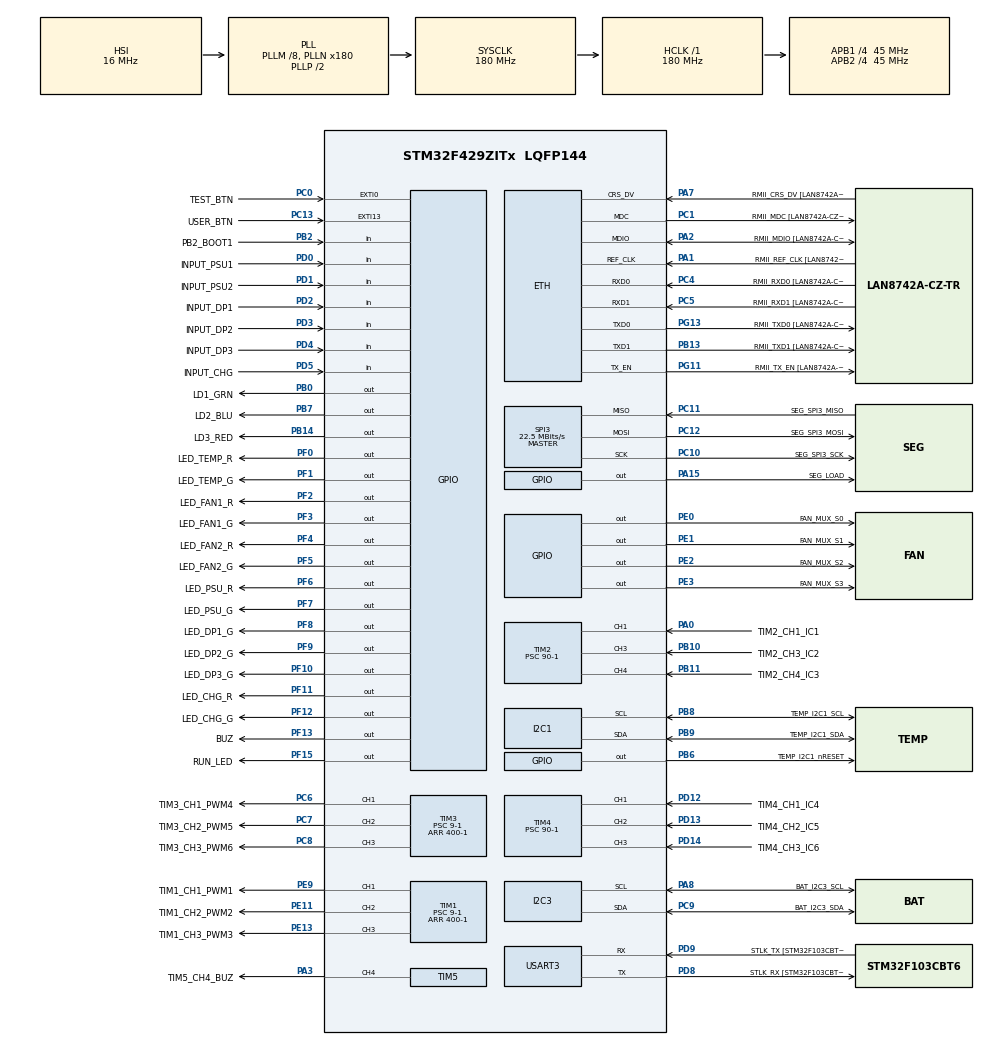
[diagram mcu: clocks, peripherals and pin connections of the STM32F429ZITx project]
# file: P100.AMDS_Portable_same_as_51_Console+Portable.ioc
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ETH.MediaInterface=HAL_ETH_RMII_MODE
LWIP.BSP.number=1
LWIP.GATEWAY_ADDRESS=192.168.050.001
LWIP.IP_ADDRESS=192.168.050.100
LWIP.LWIP_DHCP=0
LWIP.NETMASK_ADDRESS=255.255.255.000
LWIP.Version=v2.1.2_Cube
LWIP0.BSP.STBoard=false
LWIP0.BSP.api=BSP_COMPONENT_DRIVER
LWIP0.BSP.component=LAN8742
LWIP0.BSP.instance=LAN8742
LWIP0.BSP.name=Driver_PHY
LWIP0.BSP.semaphore=S_LAN8742
LWIP0.BSP.solution=LAN8742
Mcu.Family=STM32F4
Mcu.Name=STM32F429ZITx
Mcu.Package=LQFP144
NVIC.ETH_IRQn=true\:0\:0\:false\:false\:true\:true\:true\:true
NVIC.EXTI0_IRQn=true\:3\:0\:true\:false\:true\:true\:true\:true
NVIC.EXTI15_10_IRQn=true\:0\:0\:false\:false\:true\:true\:true\:true
NVIC.PriorityGroup=NVIC_PRIORITYGROUP_4
NVIC.TIM2_IRQn=true\:0\:0\:true\:false\:true\:true\:true\:true
NVIC.TIM4_IRQn=true\:0\:0\:true\:false\:true\:true\:true\:true
NVIC.TIM6_DAC_IRQn=true\:1\:0\:true\:false\:true\:true\:true\:true
NVIC.USART3_IRQn=true\:0\:0\:false\:false\:true\:true\:true\:true
PA0/WKUP.GPIO_Label=TIM2_CH1_IC1
PA0/WKUP.Signal=S_TIM2_CH1_ETR
PA1.GPIO_Label=RMII_REF_CLK [LAN8742A-CZ-TR_REFCLK0]
PA1.Mode=RMII
PA1.Signal=ETH_REF_CLK
PA13.Mode=Serial_Wire
PA13.Signal=SYS_JTMS-SWDIO
PA14.GPIO_Label=TCK
PA14.Mode=Serial_Wire
PA14.Signal=SYS_JTCK-SWCLK
PA15.GPIO_Label=SEG_LOAD
PA15.Signal=GPIO_Output
PA2.GPIO_Label=RMII_MDIO [LAN8742A-CZ-TR_MDIO]
PA2.Mode=RMII
PA2.Signal=ETH_MDIO
PA3.GPIO_Label=TIM5_CH4_BUZ
PA3.Signal=S_TIM5_CH4
PA7.GPIO_Label=RMII_CRS_DV [LAN8742A-CZ-TR_CRS_DV]
PA7.Mode=RMII
PA7.Signal=ETH_CRS_DV
PA8.GPIO_Label=BAT_I2C3_SCL
PA8.Mode=I2C
PA8.Signal=I2C3_SCL
PB0.GPIO_Label=LD1_GRN
PB0.Signal=GPIO_Output
PB10.GPIO_Label=TIM2_CH3_IC2
PB10.Signal=S_TIM2_CH3
PB11.GPIO_Label=TIM2_CH4_IC3
PB11.Signal=S_TIM2_CH4
PB13.GPIO_Label=RMII_TXD1 [LAN8742A-CZ-TR_TXD1]
PB13.Mode=RMII
PB13.Signal=ETH_TXD1
PB14.GPIO_Label=LD3_RED
PB14.Signal=GPIO_Output
PB2/BOOT1.GPIO_Label=PB2_BOOT1
PB2/BOOT1.Signal=GPIO_Input
PB4.GPIO_Label=SEG_SPI1_MISO
PB4.Signal=SPI1_MISO
PB6.GPIO_Label=TEMP_I2C1_nRESET
PB6.Signal=GPIO_Output
PB7.GPIO_Label=LD2_BLU
PB7.Signal=GPIO_Output
PB8.GPIO_Label=TEMP_I2C1_SCL
PB8.Mode=I2C
PB8.Signal=I2C1_SCL
PB9.GPIO_Label=TEMP_I2C1_SDA
PB9.Mode=I2C
PB9.Signal=I2C1_SDA
PC0.GPIO_Label=TEST_BTN
PC0.GPIO_ModeDefaultEXTI=GPIO_MODE_IT_FALLING
PC0.GPIO_PuPd=GPIO_NOPULL
PC0.Signal=GPXTI0
PC1.GPIO_Label=RMII_MDC [LAN8742A-CZ-TR_MDC]
PC1.Mode=RMII
PC1.Signal=ETH_MDC
PC10.GPIO_Label=SEG_SPI3_SCK
PC10.Mode=Full_Duplex_Master
PC10.Signal=SPI3_SCK
PC11.GPIO_Label=SEG_SPI3_MISO
PC11.Mode=Full_Duplex_Master
PC11.Signal=SPI3_MISO
PC12.GPIO_Label=SEG_SPI3_MOSI
PC12.Mode=Full_Duplex_Master
PC12.Signal=SPI3_MOSI
PC13.GPIO_Label=USER_BTN
PC13.GPIO_ModeDefaultEXTI=GPIO_MODE_IT_FALLING
PC13.GPIO_PuPd=GPIO_NOPULL
PC13.Signal=GPXTI13
PC14/OSC32_IN.Mode=LSE-External-Oscillator
PC14/OSC32_IN.Signal=RCC_OSC32_IN
PC15/OSC32_OUT.Mode=LSE-External-Oscillator
PC15/OSC32_OUT.Signal=RCC_OSC32_OUT
PC4.GPIO_Label=RMII_RXD0 [LAN8742A-CZ-TR_RXD0]
PC4.Mode=RMII
PC4.Signal=ETH_RXD0
PC5.GPIO_Label=RMII_RXD1 [LAN8742A-CZ-TR_RXD1]
PC5.Mode=RMII
PC5.Signal=ETH_RXD1
PC6.GPIO_Label=TIM3_CH1_PWM4
PC6.Signal=S_TIM3_CH1
PC7.GPIO_Label=TIM3_CH2_PWM5
PC7.Signal=S_TIM3_CH2
PC8.GPIO_Label=TIM3_CH3_PWM6
PC8.Signal=S_TIM3_CH3
PC9.GPIO_Label=BAT_I2C3_SDA
PC9.Mode=I2C
PC9.Signal=I2C3_SDA
PD0.GPIO_Label=INPUT_PSU1
PD0.GPIO_PuPd=GPIO_PULLUP
PD0.Signal=GPIO_Input
PD1.GPIO_Label=INPUT_PSU2
PD1.GPIO_PuPd=GPIO_PULLUP
PD1.Signal=GPIO_Input
PD12.GPIO_Label=TIM4_CH1_IC4
PD12.Signal=S_TIM4_CH1
PD13.GPIO_Label=TIM4_CH2_IC5
PD13.Signal=S_TIM4_CH2
PD14.GPIO_Label=TIM4_CH3_IC6
PD14.Signal=S_TIM4_CH3
PD2.GPIO_Label=INPUT_DP1
PD2.GPIO_PuPd=GPIO_PULLUP
PD2.Signal=GPIO_Input
PD3.GPIO_Label=INPUT_DP2
PD3.GPIO_PuPd=GPIO_PULLUP
PD3.Signal=GPIO_Input
PD4.GPIO_Label=INPUT_DP3
PD4.GPIO_PuPd=GPIO_PULLUP
PD4.Signal=GPIO_Input
PD5.GPIO_Label=INPUT_CHG
PD5.GPIO_PuPd=GPIO_PULLUP
PD5.Signal=GPIO_Input
PD8.GPIO_Label=STLK_RX [STM32F103CBT6_PA3]
PD8.Mode=Asynchronous
PD8.Signal=USART3_TX
PD9.GPIO_Label=STLK_TX [STM32F103CBT6_PA2]
PD9.Mode=Asynchronous
PD9.Signal=USART3_RX
PE0.GPIO_Label=FAN_MUX_S0
PE0.Signal=GPIO_Output
PE1.GPIO_Label=FAN_MUX_S1
PE1.Signal=GPIO_Output
PE11.GPIO_Label=TIM1_CH2_PWM2
PE11.Signal=S_TIM1_CH2
PE13.GPIO_Label=TIM1_CH3_PWM3
PE13.Signal=S_TIM1_CH3
PE2.GPIO_Label=FAN_MUX_S2
PE2.Signal=GPIO_Output
PE3.GPIO_Label=FAN_MUX_S3
PE3.Signal=GPIO_Output
PE9.GPIO_Label=TIM1_CH1_PWM1
PE9.Signal=S_TIM1_CH1
PF0.GPIO_Label=LED_TEMP_R
PF0.PinState=GPIO_PIN_SET
PF0.Signal=GPIO_Output
PF1.GPIO_Label=LED_TEMP_G
PF1.PinState=GPIO_PIN_SET
PF1.Signal=GPIO_Output
PF10.GPIO_Label=LED_DP3_G
PF10.PinState=GPIO_PIN_SET
PF10.Signal=GPIO_Output
PF11.GPIO_Label=LED_CHG_R
PF11.PinState=GPIO_PIN_SET
PF11.Signal=GPIO_Output
PF12.GPIO_Label=LED_CHG_G
PF12.PinState=GPIO_PIN_SET
PF12.Signal=GPIO_Output
PF13.GPIO_Label=BUZ
PF13.PinState=GPIO_PIN_SET
PF13.Signal=GPIO_Output
PF15.GPIO_Label=RUN_LED
PF15.Signal=GPIO_Output
PF2.GPIO_Label=LED_FAN1_R
PF2.PinState=GPIO_PIN_SET
PF2.Signal=GPIO_Output
PF3.GPIO_Label=LED_FAN1_G
PF3.PinState=GPIO_PIN_SET
PF3.Signal=GPIO_Output
PF4.GPIO_Label=LED_FAN2_R
PF4.PinState=GPIO_PIN_SET
PF4.Signal=GPIO_Output
PF5.GPIO_Label=LED_FAN2_G
PF5.PinState=GPIO_PIN_SET
PF5.Signal=GPIO_Output
PF6.GPIO_Label=LED_PSU_R
PF6.PinState=GPIO_PIN_SET
PF6.Signal=GPIO_Output
PF7.GPIO_Label=LED_PSU_G
PF7.PinState=GPIO_PIN_SET
PF7.Signal=GPIO_Output
PF8.GPIO_Label=LED_DP1_G
PF8.PinState=GPIO_PIN_SET
PF8.Signal=GPIO_Output
PF9.GPIO_Label=LED_DP2_G
PF9.PinState=GPIO_PIN_SET
PF9.Signal=GPIO_Output
PG11.GPIO_Label=RMII_TX_EN [LAN8742A-CZ-TR_TXEN]
PG11.Mode=RMII
PG11.Signal=ETH_TX_EN
PG13.GPIO_Label=RMII_TXD0 [LAN8742A-CZ-TR_TXD0]
PG13.Mode=RMII
PG13.Signal=ETH_TXD0
PH0/OSC_IN.Mode=HSE-External-Oscillator
PH0/OSC_IN.Signal=RCC_OSC_IN
PH1/OSC_OUT.Mode=HSE-External-Oscillator
PH1/OSC_OUT.Signal=RCC_OSC_OUT
ProjectManager.HeapSize=0x200
ProjectManager.StackSize=0x400
ProjectManager.TargetToolchain=STM32CubeIDE
RCC.48MHZClocksFreq_Value=51428571.428571425
RCC.AHBFreq_Value=180000000
RCC.APB1CLKDivider=RCC_HCLK_DIV4
RCC.APB1Freq_Value=45000000
RCC.APB1TimFreq_Value=90000000
RCC.APB2CLKDivider=RCC_HCLK_DIV4
RCC.APB2Freq_Value=45000000
RCC.APB2TimFreq_Value=90000000
RCC.CortexFreq_Value=180000000
RCC.HCLKFreq_Value=180000000
RCC.HSE_VALUE=8000000
RCC.HSI_VALUE=16000000
RCC.PLLM=8
RCC.PLLMUL=RCC_PLL_MUL9
RCC.PLLN=180
RCC.PLLQ=7
RCC.PRESCALERUSB=RCC_USBCLKSOURCE_PLL_DIV1_5
RCC.SYSCLKFreq_VALUE=180000000
RCC.SYSCLKSource=RCC_SYSCLKSOURCE_PLLCLK
RCC.SYSCLKSourceVirtual=RCC_SYSCLKSOURCE_PLLCLK
RCC.USBFreq_Value=48000000
RCC.VCOOutputFreq_Value=360000000
SH.S_TIM1_CH1.0=TIM1_CH1,PWM Generation1 CH1
SH.S_TIM1_CH2.0=TIM1_CH2,PWM Generation2 CH2
SH.S_TIM1_CH3.0=TIM1_CH3,PWM Generation3 CH3
SH.S_TIM2_CH1_ETR.0=TIM2_CH1,Input_Capture1_from_TI1
SH.S_TIM2_CH3.0=TIM2_CH3,Input_Capture3_from_TI3
SH.S_TIM2_CH4.0=TIM2_CH4,Input_Capture4_from_TI4
SH.S_TIM3_CH1.0=TIM3_CH1,PWM Generation1 CH1
SH.S_TIM3_CH2.0=TIM3_CH2,PWM Generation2 CH2
SH.S_TIM3_CH3.0=TIM3_CH3,PWM Generation3 CH3
SH.S_TIM4_CH1.0=TIM4_CH1,Input_Capture1_from_TI1
SH.S_TIM4_CH2.0=TIM4_CH2,Input_Capture2_from_TI2
SH.S_TIM4_CH3.0=TIM4_CH3,Input_Capture3_from_TI3
SH.S_TIM5_CH4.0=TIM5_CH4,PWM Generation4 CH4
SPI3.BaudRatePrescaler=SPI_BAUDRATEPRESCALER_2
SPI3.CalculateBaudRate=22.5 MBits/s
SPI3.Direction=SPI_DIRECTION_2LINES
SPI3.Mode=SPI_MODE_MASTER
SPI3.VirtualType=VM_MASTER
TIM1.Channel-PWM\ Generation1\ CH1=TIM_CHANNEL_1
TIM1.Channel-PWM\ Generation2\ CH2=TIM_CHANNEL_2
TIM1.Channel-PWM\ Generation3\ CH3=TIM_CHANNEL_3
TIM1.Period=400-1
TIM1.Prescaler=9-1
TIM2.Channel-Input_Capture1_from_TI1=TIM_CHANNEL_1
TIM2.Channel-Input_Capture3_from_TI3=TIM_CHANNEL_3
TIM2.Channel-Input_Capture4_from_TI4=TIM_CHANNEL_4
TIM2.ICFilter_CH1=15
TIM2.ICFilter_CH3=15
TIM2.Prescaler=90-1
TIM3.Channel-PWM\ Generation1\ CH1=TIM_CHANNEL_1
TIM3.Channel-PWM\ Generation2\ CH2=TIM_CHANNEL_2
TIM3.Channel-PWM\ Generation3\ CH3=TIM_CHANNEL_3
TIM3.Period=400-1
TIM3.Prescaler=9-1
TIM4.Channel-Input_Capture1_from_TI1=TIM_CHANNEL_1
TIM4.Channel-Input_Capture2_from_TI2=TIM_CHANNEL_2
TIM4.Channel-Input_Capture3_from_TI3=TIM_CHANNEL_3
TIM4.Prescaler=90-1
TIM5.Channel-PWM\ Generation4\ CH4=TIM_CHANNEL_4
TIM5.Period=370
TIM5.Prescaler=90-1
TIM5.Pulse-PWM\ Generation4\ CH4=185
TIM6.Period=10000-1
TIM6.Prescaler=900-1
USART3.VirtualMode=VM_ASYNC
VP_LWIP_VS_Enabled.Mode=Enabled
VP_TIM6_VS_ClockSourceINT.Mode=Enable_Timer
board=NUCLEO-F429ZI

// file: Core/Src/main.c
/* USER CODE BEGIN Header */
/**
  ******************************************************************************
  * @file           : main.c
  * @brief          : Main program body
  ******************************************************************************
  * @attention
  *
  * Copyright (c) 2024 STMicroelectronics.
  * All rights reserved.
  *
  * This software is licensed under terms that can be found in the LICENSE file
  * in the root directory of this software component.
  * If no LICENSE file comes with this software, it is provided AS-IS.
  *
  ******************************************************************************
  */
/* USER CODE END Header */
#include "main.h"
#include "i2c.h"
#include "lwip.h"
#include "spi.h"
#include "tim.h"
#include "usart.h"
#include "gpio.h"

/* USER CODE BEGIN Includes */
#include <stdlib.h>
#include <udp_server.h>
#include "ring_buffer.h"
#include "pid.h"
#include "ema.h"
#include "user_timer.h"
#include "fan_control.h"
#include "debug_uart.h"
#include "hih8131.h"
#include "bq34z100.h"
#include "process.h"
#include "max7219.h"
#include "display.h"
#include "udp_protocol.h"
#include "send.h"
#include "debug_uart.h"
#include "buzzer.h"

/* USER CODE END Includes */

/* USER CODE BEGIN PV */
uint8_t timer_interrupt_100ms_done = 0;
uint8_t timer_interrupt_1sec_done = 0;
uint8_t key_pressed = 0;
uint8_t keyno = 0;

//----------------------
//RingBuffer rxBuffer;

/* USER CODE END PV */

void SystemClock_Config(void);
/* USER CODE BEGIN PFP */
int _write(int file, char* p, int len)
{
	HAL_UART_Transmit(&huart3, (const uint8_t *)p, len, 10);
	return len;
}

/* USER CODE END PFP */

/* USER CODE BEGIN 0 */
uint32_t stamp_100ms = 0;
uint32_t stamp_1sec = 0;
int8_t cmd_received = 1;
//uint8_t command[50] = {0, };

//UDP Server
extern struct netif gnetif;
extern ip4_addr_t ipaddr;

/* USER CODE END 0 */

int main(void)
{

  /* MCU Configuration--------------------------------------------------------*/

  /* Reset of all peripherals, Initializes the Flash interface and the Systick. */
  HAL_Init();

  /* Configure the system clock */
  SystemClock_Config();

  /* Initialize all configured peripherals */
  MX_GPIO_Init();
  MX_USART3_UART_Init();
  MX_I2C1_Init();
  MX_TIM1_Init();
  MX_TIM2_Init();
  MX_TIM3_Init();
  MX_TIM4_Init();
  MX_LWIP_Init();
  MX_TIM6_Init();
  MX_I2C3_Init();
  MX_SPI3_Init();
  MX_TIM5_Init();
  /* USER CODE BEGIN 2 */
  uTimer_Init();
  LED_Init();
  MAX7219_Init();
  Buzzer_Init();

  DBG_Uart_Init();
  HAL_UART_Receive_IT(&huart3, (uint8_t *)&rxBuffer.buffer[rxBuffer.head], 1);

  FAN_Init();
  HMTP_Init();
  UDP_Protocol_Init();

  configure_mac_filter();
  udpServer_init();
  Process_Init();

  HAL_TIM_Base_Start_IT(&htim6);

 printf("\n51.Integration_max7291_lib_upgraded\n");

 //Send_Portable_Status()
 setbuf(stdout,NULL);
  /* USER CODE END 2 */

  /* Infinite loop */
  /* USER CODE BEGIN WHILE */

 uint8_t toggle = 0;
  while (1)
  {
    ethernetif_input(&gnetif);
    sys_check_timeouts();

    Process_Portable_Status();

    if(key_pressed == 1)
    {
      toggle = !toggle;

		//Send_Portable_Status();

         key_pressed = 0;
    }

    /* USER CODE END WHILE */

  }
}

void SystemClock_Config(void)
{
  RCC_OscInitTypeDef RCC_OscInitStruct = {0};
  RCC_ClkInitTypeDef RCC_ClkInitStruct = {0};

  /** Configure the main internal regulator output voltage
  */
  __HAL_RCC_PWR_CLK_ENABLE();
  __HAL_PWR_VOLTAGESCALING_CONFIG(PWR_REGULATOR_VOLTAGE_SCALE1);

  /** Initializes the RCC Oscillators according to the specified parameters
  * in the RCC_OscInitTypeDef structure.
  */
  RCC_OscInitStruct.OscillatorType = RCC_OSCILLATORTYPE_HSI;
  RCC_OscInitStruct.HSIState = RCC_HSI_ON;
  RCC_OscInitStruct.HSICalibrationValue = RCC_HSICALIBRATION_DEFAULT;
  RCC_OscInitStruct.PLL.PLLState = RCC_PLL_ON;
  RCC_OscInitStruct.PLL.PLLSource = RCC_PLLSOURCE_HSI;
  RCC_OscInitStruct.PLL.PLLM = 8;
  RCC_OscInitStruct.PLL.PLLN = 180;
  RCC_OscInitStruct.PLL.PLLP = RCC_PLLP_DIV2;
  RCC_OscInitStruct.PLL.PLLQ = 7;
  if (HAL_RCC_OscConfig(&RCC_OscInitStruct) != HAL_OK)
  {
    Error_Handler();
  }

  /** Activate the Over-Drive mode
  */
  if (HAL_PWREx_EnableOverDrive() != HAL_OK)
  {
    Error_Handler();
  }

  /** Initializes the CPU, AHB and APB buses clocks
  */
  RCC_ClkInitStruct.ClockType = RCC_CLOCKTYPE_HCLK|RCC_CLOCKTYPE_SYSCLK
                              |RCC_CLOCKTYPE_PCLK1|RCC_CLOCKTYPE_PCLK2;
  RCC_ClkInitStruct.SYSCLKSource = RCC_SYSCLKSOURCE_PLLCLK;
  RCC_ClkInitStruct.AHBCLKDivider = RCC_SYSCLK_DIV1;
  RCC_ClkInitStruct.APB1CLKDivider = RCC_HCLK_DIV4;
  RCC_ClkInitStruct.APB2CLKDivider = RCC_HCLK_DIV4;

  if (HAL_RCC_ClockConfig(&RCC_ClkInitStruct, FLASH_LATENCY_5) != HAL_OK)
  {
    Error_Handler();
  }
}

/* USER CODE BEGIN 4 */
void HAL_TIM_PeriodElapsedCallback(TIM_HandleTypeDef *htim)
{
  static uint32_t last_blink_tick = 0;

  if(htim->Instance == TIM6)
  {
    if (HAL_GetTick() - last_blink_tick >= 500) {
      last_blink_tick = HAL_GetTick();

      HAL_GPIO_TogglePin(RUN_LED_GPIO_Port, RUN_LED_Pin);
      //HAL_GPIO_TogglePin(LED_DP2_G_GPIO_Port, LED_DP2_G_Pin);
    }
  }
}

void HAL_GPIO_EXTI_Callback(uint16_t GPIO_Pin)
{
    if(GPIO_Pin == USER_BTN_Pin)
  {
    HAL_NVIC_DisableIRQ(EXTI15_10_IRQn);
    //---------------------------------------------------------
    if(key_pressed == 0)
    {
      printf("key_pressed !\n");
      key_pressed = 1;
    }

    //---------------------------------------------------------
    HAL_NVIC_EnableIRQ(EXTI15_10_IRQn);

  }//USER_BTN_Pin

  if(GPIO_Pin == TEST_BTN_Pin)
  {
    HAL_NVIC_DisableIRQ(EXTI0_IRQn);
    //---------------------------------------------------------
    if(key_pressed == 0)
    {
      uTimer_Regist(((uint8_t)uTimerDebounce), KEY_TIMERCNT);
      keyno = fan_step;

      if(keyno <5 ) {
        keyno++;
      }
      if (keyno > 4) {
        keyno = 0;
      }
      fan_step = keyno;

      key_pressed = 1;

      printf("STEP : %d \n", keyno);
    }
    //---------------------------------------------------------
    HAL_NVIC_EnableIRQ(EXTI0_IRQn);

  }//TEST_BTN_Pin
}

/* USER CODE END 4 */

void Error_Handler(void)
{
  __disable_irq();
  while (1)
  {
  }
}
